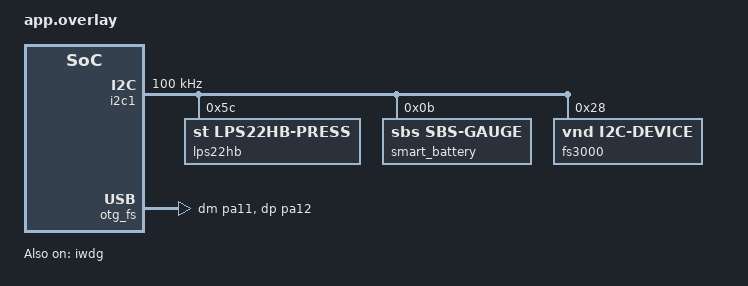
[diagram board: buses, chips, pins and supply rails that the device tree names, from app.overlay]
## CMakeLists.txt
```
cmake_minimum_required(VERSION 3.20.0)

find_package(Zephyr REQUIRED HINTS $ENV{ZEPHYR_BASE})
project(medical_firmware)

option(QEMU_RUNTIME_PROBE "Enable QEMU runtime probe markers and hardware stubs" OFF)

target_include_directories(app PRIVATE include)

target_sources(app PRIVATE
    src/main.cpp
    src/RTOS_Command_based_thread_system.cpp
    src/RTOS_Synchronization_Layer.cpp
)

if(QEMU_RUNTIME_PROBE)
    # THE FIX: This injects the macro into your C++ preprocessor 
    # so main() knows to print the boot marker!
    target_compile_definitions(app PRIVATE 
        QEMU_RUNTIME_PROBE=1
    )

    target_sources(app PRIVATE
        src/QEMU_Startup_Probe.c
        src/Device_State_Machine_QEMU_Stub.cpp
        src/Persistent_Configuration_System_QEMU_Stub.cpp
        src/Power_Management_System_QEMU_Stub.cpp
        src/Smart_Battery_System_QEMU_Stub.cpp
        src/USB_CDC_Virtual_COM_Shell_Interface_QEMU_Stub.cpp
        src/Fault_Tolerant_I2C_Communication_Layer_QEMU_Stub.cpp
        src/Static_Memory_QEMU_Stub.cpp
    )
else()
    target_sources(app PRIVATE
        src/Device_State_Machine+Watchdog.cpp
        src/Fault_Tolerant_I2C_Communication_Layer.cpp
        src/Persistent_Configuration_System.cpp
        src/Power_Management_System.cpp
        src/Smart_Battery_System.cpp
        src/Static_Memory+MISRA_Compliance_Layer.cpp
        src/USB_CDC_Virtual_COM_Shell_Interface.cpp
    )
endif()

target_compile_options(app PRIVATE
    -Wall
    -Wextra
    -Werror
    -Wno-pedantic
    -Wno-variadic-macros
    -Wno-vla
    -Wno-missing-field-initializers
    -Wno-unused-parameter
)

if(CONFIG_COVERAGE)
    target_compile_options(app PRIVATE --coverage -O0)
    target_link_options(app PRIVATE --coverage)
endif()
```

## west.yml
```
manifest:
  remotes:
    - name: zephyrproject-rtos
      url-base: https://github.com/zephyrproject-rtos
  projects:
    - name: zephyr
      remote: zephyrproject-rtos
      revision: v3.7.0
      import: true
  self:
    path: custom_app
```

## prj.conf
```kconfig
CONFIG_CPP=y
CONFIG_STD_CPP20=y
CONFIG_HEAP_MEM_POOL_SIZE=0
CONFIG_STACK_CANARIES=y

CONFIG_PM=y
CONFIG_PM_DEVICE=y

CONFIG_TEST_RANDOM_GENERATOR=y
CONFIG_ENTROPY_GENERATOR=y

CONFIG_SERIAL=y
CONFIG_CONSOLE=y
CONFIG_UART_CONSOLE=y

CONFIG_SHELL=y

CONFIG_FLASH=y
CONFIG_FLASH_PAGE_LAYOUT=y
CONFIG_NVS=y
CONFIG_MPU_ALLOW_FLASH_WRITE=y

CONFIG_THREAD_ANALYZER=y
CONFIG_THREAD_ANALYZER_AUTO=n
CONFIG_THREAD_ANALYZER_RUN_UNLOCKED=y
CONFIG_THREAD_NAME=y

CONFIG_COUNTER=y
CONFIG_COUNTER_RTC_STM32=y

CONFIG_LOG=y
CONFIG_LOG_BACKEND_UART=y
CONFIG_PRINTK=y

CONFIG_REQUIRES_FULL_LIBCPP=y
CONFIG_GLIBCXX_LIBCPP=y

CONFIG_WATCHDOG=y
CONFIG_I2C=y
CONFIG_SENSOR=y
CONFIG_REBOOT=y
```

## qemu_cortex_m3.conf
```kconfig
# 1. Simulated Flash and NVS
CONFIG_FLASH=y
CONFIG_FLASH_SIMULATOR=y
CONFIG_FLASH_PAGE_LAYOUT=y
CONFIG_FLASH_MAP=y
CONFIG_NVS=y

# 2. General Subsystems
CONFIG_REBOOT=y
CONFIG_COUNTER=y
CONFIG_I2C=y
CONFIG_WATCHDOG=y

# 3. Enable Dummy Drivers (Crucial for the Linker)
# These generate the C-structs for our "vnd" fake hardware
CONFIG_I2C_TEST=y
CONFIG_WDT_DUMMY=y

# 4. Turn off USB
CONFIG_USB_DEVICE_STACK=n
```

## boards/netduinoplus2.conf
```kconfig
# boards/netduinoplus2.conf

# 1. Enable Simulated Flash and NVS mapping
CONFIG_FLASH_SIMULATOR=y
CONFIG_FLASH_MAP=y

# 2. Turn off USB because QEMU has no physical USB hardware controller
CONFIG_USB_DEVICE_STACK=n

# 3. Disable physical STM32-specific hardware drivers forced by prj.conf
CONFIG_COUNTER_RTC_STM32=n
CONFIG_IWDG_STM32=n
CONFIG_I2C_STM32=n
CONFIG_MPU_ALLOW_FLASH_WRITE=n

# 4. Disable Deep Sleep Power Management (not supported by QEMU's STM32 model)
CONFIG_PM=n
CONFIG_PM_DEVICE=n
```

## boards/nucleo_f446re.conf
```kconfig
# boards/nucleo_f446re.conf

CONFIG_USB_DEVICE_STACK=y
CONFIG_USB_DEVICE_INITIALIZE_AT_BOOT=n
CONFIG_UART_INTERRUPT_DRIVEN=y
CONFIG_UART_LINE_CTRL=y

CONFIG_USB_DEVICE_PID=0x0001
CONFIG_USB_DEVICE_VID=0x2FE3
CONFIG_USB_DEVICE_PRODUCT="Medical Firmware"
CONFIG_USB_DEVICE_MANUFACTURER="STM Microelectronics"

CONFIG_SHELL_BACKEND_SERIAL=y
CONFIG_SHELL_PROMPT_UART="med-device:~$ "
```

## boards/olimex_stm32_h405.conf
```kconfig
CONFIG_LOG_BACKEND_UART=n
CONFIG_THREAD_ANALYZER_RUN_UNLOCKED=n

CONFIG_CLOCK_CONTROL=n
CONFIG_GPIO=n
CONFIG_I2C=n
CONFIG_SENSOR=n
CONFIG_WATCHDOG=n
CONFIG_COUNTER=n
CONFIG_COUNTER_RTC_STM32=n
CONFIG_FLASH=n
CONFIG_FLASH_PAGE_LAYOUT=n
CONFIG_NVS=n
CONFIG_PM=n
CONFIG_PM_DEVICE=n
CONFIG_USB_DEVICE_STACK=n
CONFIG_SHELL=n
CONFIG_SHELL_BACKEND_SERIAL=n

CONFIG_SERIAL=n
CONFIG_CONSOLE=n
CONFIG_UART_CONSOLE=n
CONFIG_LOG=n
CONFIG_PRINTK=y
CONFIG_BOOT_BANNER=n
```

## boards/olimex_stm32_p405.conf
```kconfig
# boards/olimex_stm32_p405.conf

# Turn off the USB stack (QEMU lacks physical USB hardware)
CONFIG_USB_DEVICE_STACK=n
```

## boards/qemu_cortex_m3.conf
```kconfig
# boards/qemu_cortex_m3.conf

# 1. Simulated Flash and NVS
CONFIG_FLASH=y
CONFIG_FLASH_SIMULATOR=y
CONFIG_FLASH_PAGE_LAYOUT=y
CONFIG_FLASH_MAP=y
CONFIG_NVS=y

# 2. General Subsystems
CONFIG_REBOOT=y
CONFIG_COUNTER=y
CONFIG_I2C=y
CONFIG_TEST_RANDOM_GENERATOR=y
CONFIG_WATCHDOG=y

# 3. Standard Console & C++ (Required for QEMU output)
CONFIG_CPP=y
CONFIG_STD_CPP20=y
CONFIG_SERIAL=y
CONFIG_CONSOLE=y
CONFIG_UART_CONSOLE=y
CONFIG_PRINTK=y
CONFIG_LOG_BUFFER_SIZE=8192
CONFIG_LOG_MODE_IMMEDIATE=y
CONFIG_HW_STACK_PROTECTION=y
```

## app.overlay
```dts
/* Enable the I2C1 Bus */
&i2c1 {
    status = "okay";
    
    /* SMBus requires 100 kHz for the Smart Battery */
    clock-frequency = <I2C_BITRATE_STANDARD>; 

    /* 1. LPS22HB Pressure Sensor */
    lps22hb: lps22hb@5c {
        compatible = "st,lps22hb-press";
        reg = <0x5c>; 
        status = "okay";
    };

    /* 2. Smart Battery (SBS 1.1) */
    smart_battery: sbs_gauge@b {
        compatible = "sbs,sbs-gauge";
        reg = <0x0b>; 
        status = "okay";
    };

    /* 3. FS3000 Flow Sensor */
    fs3000: fs3000@28 {
        compatible = "vnd,i2c-device"; 
        reg = <0x28>;
        status = "okay";
    };
};

&iwdg {
    status = "okay";
};

/ {
    aliases {
        cdc-acm-uart0 = &cdc_acm_uart0;
    };
};

&otg_fs {
    status = "okay";
    pinctrl-0 = <&usb_otg_fs_dm_pa11 &usb_otg_fs_dp_pa12>;
    pinctrl-names = "default";

    cdc_acm_uart0: cdc_acm_uart0 {
        compatible = "zephyr,cdc-acm-uart";
    };
};
```

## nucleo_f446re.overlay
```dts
/* Enable the I2C1 Bus */
&i2c1 {
    status = "okay";
    
    /* SMBus requires 100 kHz for the Smart Battery */
    clock-frequency = <I2C_BITRATE_STANDARD>; 

    /* 1. LPS22HB Pressure Sensor */
    lps22hb: lps22hb@5c {
        compatible = "st,lps22hb-press";
        reg = <0x5c>; 
        status = "okay";
    };

    /* 2. Smart Battery (SBS 1.1) */
    smart_battery: sbs_gauge@b {
        compatible = "sbs,sbs-gauge";
        reg = <0x0b>; 
        status = "okay";
    };

    /* 3. FS3000 Flow Sensor */
    fs3000: fs3000@28 {
        compatible = "vnd,i2c-device"; 
        reg = <0x28>;
        status = "okay";
    };
};

&iwdg {
    status = "okay";
};

/ {
    aliases {
        cdc-acm-uart0 = &cdc_acm_uart0;
    };
};

&usbotg_fs {
    status = "okay";
    pinctrl-0 = <&usb_otg_fs_dm_pa11 &usb_otg_fs_dp_pa12>;
    pinctrl-names = "default";

    cdc_acm_uart0: cdc_acm_uart0 {
        compatible = "zephyr,cdc-acm-uart";
    };
};
```

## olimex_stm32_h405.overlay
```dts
/* olimex_stm32_h405.overlay */

/ {
    chosen {
        zephyr,console = &usart2;
        zephyr,shell-uart = &usart2;
    };

    aliases {
        serial0 = &usart2;

        /*
         * Your USB_CDC_Virtual_COM_Shell_Interface.cpp uses:
         * DEVICE_DT_GET(DT_ALIAS(cdc_acm_uart0))
         *
         * USB is disabled in QEMU, so map this alias to USART2.
         */
        cdc-acm-uart0 = &usart2;
    };
};

/*
 * QEMU-safe clock configuration.
 * Use HSI instead of external HSE/PLL.
 */
&clk_hsi {
    status = "okay";
};

&clk_hse {
    status = "disabled";
};

&pll {
    status = "disabled";
};

&rcc {
    clocks = <&clk_hsi>;
    clock-frequency = <16000000>;
    ahb-prescaler = <1>;
    apb1-prescaler = <1>;
    apb2-prescaler = <1>;
};

&usart2 {
    status = "okay";
    current-speed = <115200>;
    pinctrl-0 = <&usart2_tx_pa2 &usart2_rx_pa3>;
    pinctrl-names = "default";
};

&usbotg_fs {
    status = "disabled";
};

/*
 * Keep I2C enabled in DTS if your full firmware expects i2c1 device.
 * Your I2CManager already mocks reads/writes for CONFIG_BOARD_OLIMEX_STM32_H405.
 */
&i2c1 {
    status = "okay";
    pinctrl-0 = <&i2c1_scl_pb6 &i2c1_sda_pb7>;
    pinctrl-names = "default";
};

&rtc {
    status = "okay";
};

&iwdg {
    status = "okay";
};

/*
 * Required by Persistent_Configuration_System.cpp:
 * DT_NODELABEL(storage_partition)
 */
&flash0 {
    partitions {
        compatible = "fixed-partitions";
        #address-cells = <1>;
        #size-cells = <1>;

        storage_partition: partition@E0000 {
            label = "storage";
            reg = <0x000E0000 0x00020000>;
        };
    };
};
```

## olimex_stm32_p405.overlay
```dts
/* olimex_stm32_p405.overlay */

/ {
    chosen {
        /*
         * For QEMU netduinoplus2, keep console and shell on USART1.
         * This maps more reliably to the first QEMU -serial backend.
         */
        zephyr,console = &usart1;
        zephyr,shell-uart = &usart1;
    };

    aliases {
        serial0 = &usart1;
        serial1 = &usart2;

        /*
         * Keep this alias because the application code uses:
         * DEVICE_DT_GET(DT_ALIAS(cdc_acm_uart0))
         *
         * USB is disabled in QEMU, so map the alias to USART1.
         */
        cdc-acm-uart0 = &usart1;
    };
};

/* QEMU does not emulate physical USB for this board */
&usbotg_fs {
    status = "disabled";
};

/* Primary QEMU console UART */
&usart1 {
    status = "okay";
    current-speed = <115200>;
    pinctrl-0 = <&usart1_tx_pa9 &usart1_rx_pa10>;
    pinctrl-names = "default";
};

/* Secondary UART kept enabled for diagnostics */
&usart2 {
    status = "okay";
    current-speed = <115200>;
    pinctrl-0 = <&usart2_tx_pa2 &usart2_rx_pa3>;
    pinctrl-names = "default";
};

&i2c1 {
    status = "okay";
    pinctrl-0 = <&i2c1_scl_pb6 &i2c1_sda_pb7>;
    pinctrl-names = "default";
};

&rtc {
    status = "okay";
};

&iwdg {
    status = "okay";
};

&flash0 {
    partitions {
        compatible = "fixed-partitions";
        #address-cells = <1>;
        #size-cells = <1>;

        storage_partition: partition@E0000 {
            label = "storage";
            reg = <0x000E0000 0x00020000>;
        };
    };
};
```

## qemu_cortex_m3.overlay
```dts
/* qemu_cortex_m3.overlay */

/ {
    aliases {
        cdc-acm-uart0 = &uart0;
    };

    /* 1. Mock I2C Bus */
    i2c1: fake_i2c@40001000 {
        compatible = "vnd,i2c";
        reg = <0x40001000 0x1000>;
        status = "okay";
        #address-cells = <1>;
        #size-cells = <0>;
    };

    /* 2. Mock Watchdog (Spoofed as I2C to generate linker symbol) */
    iwdg: fake_watchdog@40002000 {
        compatible = "vnd,i2c";
        reg = <0x40002000 0x1000>;
        status = "okay";
        #address-cells = <1>;
        #size-cells = <0>;
    };

    /* 3. Mock RTC (Spoofed as I2C to generate linker symbol) */
    rtc: fake_rtc@40003000 {
        compatible = "vnd,i2c";
        reg = <0x40003000 0x1000>;
        status = "okay";
        #address-cells = <1>;
        #size-cells = <0>;
    };

    /* 4. Simulated Flash for NVS */
    sim_flash: sim_flash@50000000 {
        compatible = "zephyr,sim-flash";
        reg = <0x50000000 0x8000>;
        #address-cells = <1>;
        #size-cells = <1>;
        erase-value = <0xff>;

        flash_sim0: flash_sim@0 {
            status = "okay";
            compatible = "soc-nv-flash";
            erase-block-size = <1024>;
            write-block-size = <4>;
            reg = <0x00000000 0x8000>;

            partitions {
                compatible = "fixed-partitions";
                #address-cells = <1>;
                #size-cells = <1>;

                storage_partition: partition@6000 {
                    label = "storage";
                    reg = <0x00006000 0x00002000>;
                };
            };
        };
    };
};

&uart0 {
    status = "okay";
};
```

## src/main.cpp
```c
#include <zephyr/kernel.h>
#include <zephyr/logging/log.h>
#include <zephyr/sys/printk.h>

#include "RTOS_Command_based_thread_system.h"
#include "RTOS_Synchronization_Layer.h"
#include "Device_State_Machine+Watchdog.h"
#include "Smart_Battery_System.h"
#include "Persistent_Configuration_System.h"
#include "Static_Memory+MISRA_Compliance_Layer.h"
#include "Power_Management_System.h"

#include <zephyr/debug/thread_analyzer.h>
#include <new>

LOG_MODULE_REGISTER(MAIN_OS, LOG_LEVEL_INF);

DeviceContext sys_context;

extern ZephyrWorkQueue status_work;

#if defined(QEMU_RUNTIME_PROBE)
static void qemu_write0(const char *s)
{
    /*
     * ARM semihosting SYS_WRITE0:
     * r0 = 0x04
     * r1 = zero-terminated string pointer
     *
     * Use explicit register moves.
     * Do not rely on C/C++ register variables here.
     */
    asm volatile (
        "mov r2, %[msg]\n"
        "movs r0, #4\n"
        "mov r1, r2\n"
        "bkpt 0xab\n"
        :
        : [msg] "r" (s)
        : "r0", "r1", "r2", "memory"
    );
}
#else
static void qemu_write0(const char * /* s */)
{
}
#endif

int main(void)
{
    qemu_write0("QEMU_BOOT_MARKER_ACTUAL_MAIN\n");
    printk("QEMU_BOOT_MARKER_PRINTK\n");

    LOG_INF("Command-Based RTOS Booting");
    qemu_write0("MAIN_AFTER_LOG_INF\n");

#if defined(QEMU_RUNTIME_PROBE)

    /*
     * QEMU mode:
     * Do not call ConfigStore::get() / set().
     * Those template methods are inline in the header and require
     * nvs_read() / nvs_write(), which are intentionally disabled in QEMU mode.
     */
    qemu_write0("MAIN_QEMU_SKIP_NVS_CONFIG\n");

#else

    ConfigStore& config = ConfigStore::getInstance();

    if (config.init()) {
        config.validateEndurance(ConfigKey::ALARM_THRESHOLD);

        uint16_t infusion_rate = 0;

        if (!config.get(ConfigKey::INFUSION_RATE, infusion_rate)) {
            LOG_WRN("First boot detected. Setting default infusion rate.");
            config.set(ConfigKey::INFUSION_RATE, static_cast<uint16_t>(50));
        } else {
            LOG_INF("Loaded Infusion Rate from NVS: %u mL/hr", infusion_rate);
        }
    }

#endif

    sys_context.requestTransition(SystemState::RUNNING);
    qemu_write0("MAIN_AFTER_STATE_RUNNING\n");

    status_work.schedule(K_SECONDS(1));
    qemu_write0("MAIN_AFTER_STATUS_WORK_SCHEDULE\n");

    return 0;
}
```

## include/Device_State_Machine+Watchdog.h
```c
#include <zephyr/kernel.h>
#include <zephyr/drivers/watchdog.h>
#pragma once

enum class SystemState{
  INIT,
  RUNNING,
  FAULT,
  SAFE_HALT
};

class WatchdogTimer{
    private:
        const device* wdt_dev;
        int channel_id;
    public:
        WatchdogTimer();
        bool init(uint32_t timeout_ms);
        void feed();
};

class DeviceContext {
    private:
        SystemState current_state;
        WatchdogTimer wdt;
    public:
        DeviceContext();
        
        SystemState getState() const;
        bool requestTransition(SystemState next_state);
        
        void triggerFault(const char* reason);
};
        
```

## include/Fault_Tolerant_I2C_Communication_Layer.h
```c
#include <zephyr/drivers/i2c.h>
#include <cstdint>
#pragma once

enum class I2CFault{NONE,NACK,TIMEOUT,BUS_BUSY,ARBITRATION_LOST};

template <typename T>
struct Result{
    T value;
    I2CFault error;
    bool success;
    
    static Result<T> Ok(T val){
        return {val,I2CFault::NONE,true};
    }
    
    static Result<T> Err(I2CFault err){
        return {T(),err,false};
    }
};

class I2CStrategy{
  public:
      protected:
        ~I2CStrategy()=default;
      public:
          virtual void executeRecovery(const device* i2c_dev)=0;
};

class RetryStrategy:public I2CStrategy{
  public:
      void executeRecovery(const device* i2c_dev) override;
};

class BusResetStrategy:public I2CStrategy{
  public:
      void executeRecovery(const device* i2c_dev) override;
};

class FailSafeStrategy:public I2CStrategy{
  private:
      uint8_t last_known_good_value=0;
  public:
      void executeRecovery(const device* i2c_dev) override;
      void updateLastGood(uint8_t val);
      uint8_t getLastGood() const;
};

class I2CManager{
  private:
      const device* i2c_dev;
      RetryStrategy retry_strategy;
      BusResetStrategy reset_strategy;  
  public:
      explicit I2CManager(const device* dev);
      Result<uint8_t> readRegister(uint16_t sensor_addr,uint8_t reg_addr);
      Result<bool> writeRegister(uint16_t sensor_addr,uint8_t reg_addr,uint8_t val);
      Result<uint16_t> readWord(uint16_t sensor_addr,uint8_t reg_addr);
};
```

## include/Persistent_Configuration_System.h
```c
#include <zephyr/kvss/nvs.h>
#include <zephyr/logging/log.h>
#include <type_traits>
#include <cstdint>
#pragma once

enum class ConfigKey:uint16_t{DEVICE_ID=1,INFUSION_RATE=2,ALARM_THRESHOLD=3,FULL_CHARGE_LOG=4};

class ConfigStore {
    private:
        struct nvs_fs fs;
        bool initialized;
        
        static ConfigStore instance;
        
        ConfigStore();
        ~ConfigStore()=default;
        
        ConfigStore(const ConfigStore&)=delete;
        ConfigStore& operator=(const ConfigStore&)=delete;
        
    public:
        static ConfigStore& getInstance();
        
        bool init();
        
        template <typename T>
        bool set(ConfigKey key,const T& value){
            static_assert(std::is_trivially_copyable<T>::value,"Config data must be trivially copyable");
            
            if (!initialized){
                return false;
            }
            
#if defined(CONFIG_NVS) || defined(IS_TEST_ENVIRONMENT)
            uint16_t nvs_id=static_cast<uint16_t>(key);
            ssize_t written=nvs_write(&fs,nvs_id,&value,sizeof(T));
            
            return (written>=0);
#else
            return true;
#endif
          }
          
          template <typename T>
          bool get(ConfigKey key,T& out_value){
              static_assert(std::is_trivially_copyable<T>::value,"Config data must be trivially copyable.");
               
              if (!initialized){
                  return false;
              }
              
#if defined(CONFIG_NVS) || defined(IS_TEST_ENVIRONMENT)
              uint16_t nvs_id=static_cast<uint16_t>(key);
              ssize_t bytes_read=nvs_read(&fs,nvs_id,&out_value,sizeof(T));
              
              return (bytes_read==sizeof(T));
#else
              return true;
#endif
           }
           
           bool validateEndurance(ConfigKey key);
};
```

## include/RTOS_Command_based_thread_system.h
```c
#include <zephyr/kernel.h>
#include <cstdint>
#pragma once

class ICommand{
  public:
    uint32_t timestamp_queued;
    
    ICommand();
    virtual ~ICommand()=default;
    
    virtual void execute() {} 
    
    void operator delete(void* /* ptr */) {}
    
    void destroy();
};

class SensorReadCmd:public ICommand{
  public:
      void execute() override;
};

class ComputeCmd:public ICommand{
  private:
      uint8_t raw_data;
  public:
      explicit ComputeCmd(uint8_t data);
      void execute() override;
};

class PrintCmd:public ICommand{
  private:
      const char* message;
  public:
      explicit PrintCmd(const char* msg);
      void execute() override;
};

extern struct k_msgq processor_queue;
extern struct k_msgq logger_queue;    
```

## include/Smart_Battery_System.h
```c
#include "Fault_Tolerant_I2C_Communication_Layer.h"
#include "Device_State_Machine+Watchdog.h"
#include <cstdint>
#pragma once

enum class BatteryFSM{IDLE,CHARGING,DISCHARGING,CUTOFF};

struct BatteryLimits{
    static constexpr uint8_t CUTOFF_SOC_PCT=10;
    static constexpr uint8_t REENABLE_SOC_PCT=15;
};

class SbsBattery{
  private:
      I2CManager* i2c_bus;
      DeviceContext* sys_context;
      BatteryFSM current_state;
      
      static constexpr uint16_t SBS_ADDR=0x0B;
      static constexpr uint8_t REG_TEMP=0x08;
      static constexpr uint8_t REG_VOLTAGE=0x09;
      static constexpr uint8_t REG_CURRENT=0x0A;
      static constexpr uint8_t REG_SOC=0x0D;
      static constexpr uint8_t REG_CAPACITY=0x0F;
      
      bool full_charge_logged;
      
  public:
      SbsBattery(I2CManager* bus, DeviceContext* context);
      
      Result<uint16_t> getVoltage();
      Result<int16_t> getCurrent();
      Result<uint8_t> getStateOfCharge();
      Result<uint16_t> getTemperature();
      Result<uint16_t> getCapacity();
      
      void processFSM();
      BatteryFSM getState() const;
};
```

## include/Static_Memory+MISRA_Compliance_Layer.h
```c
#include <array>
#include <cstdint>
#include <new>
#include <cstddef>
#include <zephyr/kernel.h>
#include <zephyr/logging/log.h>
#pragma once

template <typename T,size_t N>
class StaticPool{
    private:
        alignas(4) std::array<uint8_t,sizeof(T)*N> memory_block;
        std::array<bool,N> in_use;
        k_mutex pool_mutex;
    
    public:
        StaticPool(){
            in_use.fill(false);
            k_mutex_init(&pool_mutex);
        }
        
        void* allocate(){
            k_mutex_lock(&pool_mutex,K_FOREVER);
            void* ptr=nullptr;
            
            for (size_t i=0;i<N;i++){
                if(!in_use[i]){
                    in_use[i]=true;
                    ptr=&memory_block[i*sizeof(T)];
                    break;
                }    
            }
            k_mutex_unlock(&pool_mutex);
            
            if (ptr==nullptr){
                LOG_ERR("StaticPool Out of Memory! Pool Size: %zu",N);
            }
            return ptr;
        }
        
        void deallocate(void* ptr){
            if (ptr==nullptr){
                return;
            }
            
            k_mutex_lock(&pool_mutex,K_FOREVER);
            auto* byte_ptr=static_cast<uint8_t*>(ptr);
            auto* base_ptr=memory_block.data();
            
            if (byte_ptr>=base_ptr && byte_ptr<base_ptr+(sizeof(T)*N)){
                size_t index=(byte_ptr-base_ptr)/sizeof(T);
                in_use[index]=false;
            }
            else{
                LOG_ERR("Invalid pointer passed to deallocate");
            }
            k_mutex_unlock(&pool_mutex);
        }
    };
```

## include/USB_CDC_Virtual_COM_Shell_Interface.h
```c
#include <zephyr/kernel.h>
#include <zephyr/device.h>
#include <zephyr/drivers/uart.h>
#include <zephyr/usb/usb_device.h>
#include <array>
#include <string_view>
#include <cstdio>
#include <cstdlib>
#include "Device_State_Machine+Watchdog.h"
#include "Smart_Battery_System.h"
#pragma once

constexpr size_t RX_RING_BUF_SIZE=256;
constexpr size_t MAX_CMD_LEN=128;

class UsbCdcFacade{
    private:
        const device* dev;
        bool dtr_ready;
        std::array<char, RX_RING_BUF_SIZE> rx_buffer;
        volatile size_t rx_head;
        volatile size_t rx_tail;
        
        static void uartInterruptHandler(const device* dev,void* user_data);
        
    public:
        UsbCdcFacade();
        bool init();
        
        bool isConnected();
        
        void transmit(std::string_view data);
        bool readLine(std::array<char, MAX_CMD_LEN>& out_line);
};

class UsbShell{
    private:
        UsbCdcFacade usb;
        DeviceContext* sys_ctx;
        SbsBattery* battery;
        
        void cmdStatus();
        void cmdSetRate(std::string_view args);
        void cmdLogDump();
        void cmdReboot();
        
    public:
        UsbShell(DeviceContext* ctx,SbsBattery* bat);
        void process();
        void dispatchCommand(std::string_view cmd);
};

  
```

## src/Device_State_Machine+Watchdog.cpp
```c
#include "Device_State_Machine+Watchdog.h"
#include <zephyr/logging/log.h>
#include <zephyr/device.h>
#include <zephyr/drivers/watchdog.h>

LOG_MODULE_REGISTER(DEVICE_STATE, LOG_LEVEL_WRN);
  
WatchdogTimer::WatchdogTimer():wdt_dev(DEVICE_DT_GET(DT_NODELABEL(iwdg))),channel_id(-1){}

bool WatchdogTimer::init(uint32_t timeout_ms){
    if (!device_is_ready(wdt_dev)){
      return false;
    }
    
    struct wdt_timeout_cfg wdt_config={
        .window={ .min=0, .max=timeout_ms},
        .callback=nullptr,
        .flags=WDT_FLAG_RESET_SOC
    };
    
    channel_id=wdt_install_timeout(wdt_dev,&wdt_config);
    
    if (channel_id<0){
      return false;
    }
    
    wdt_setup(wdt_dev, WDT_OPT_PAUSE_HALTED_BY_DBG);
    return true;
}

void WatchdogTimer::feed(){
    if (channel_id>=0){
      wdt_feed(wdt_dev,channel_id);
    }
}

DeviceContext::DeviceContext():current_state(SystemState::INIT){}

SystemState DeviceContext::getState() const{
  return current_state;
}

bool DeviceContext::requestTransition(SystemState next_state){
    if (current_state==SystemState::FAULT|| current_state ==SystemState::SAFE_HALT){
        LOG_ERR("Cannot transition out of FAULT/HALT state normally.");
        return false;
    }
    
    current_state=next_state;
    LOG_INF("System transitioned to state:%d",static_cast<int>(current_state));
    return true;
}

void DeviceContext::triggerFault(const char* reason){
    LOG_ERR("CRITICAL FAULT: %s. Forcing SAFE_HALT.",reason);
    current_state=SystemState::SAFE_HALT;
}
```

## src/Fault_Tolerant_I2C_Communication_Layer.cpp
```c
#include <zephyr/kernel.h>
#include <zephyr/logging/log.h>
#include "Fault_Tolerant_I2C_Communication_Layer.h"
#include <errno.h>
#include <stdlib.h> // Required for rand() in QEMU mock generation

LOG_MODULE_REGISTER(I2C_HW,LOG_LEVEL_WRN);
 
void RetryStrategy::executeRecovery(const device* /* i2c_dev */){
    LOG_WRN("I2C Fault Detected. Executing Exponential Backoff Retry...");
    k_msleep(10);
}

void BusResetStrategy::executeRecovery(const device* /* i2c_dev */){
    LOG_ERR("I2C Bus Hard-Locked.Toggling SCL to recover");
}

void FailSafeStrategy::executeRecovery(const device* /* i2c_dev */){
      LOG_ERR("I2C Critical Failure. Falling back to Last-known-Good data: %u",last_known_good_value);
}

void FailSafeStrategy::updateLastGood(uint8_t val){
      last_known_good_value=val;
}

uint8_t FailSafeStrategy::getLastGood() const{
      return last_known_good_value;
}

I2CManager::I2CManager(const device* i2c_dev):i2c_dev(i2c_dev){}

Result<uint8_t> I2CManager::readRegister(uint16_t sensor_addr,uint8_t reg_addr){
#ifdef CONFIG_BOARD_QEMU_CORTEX_M3
    // ==========================================
    // EMULATOR MODE (Cortex-M4): Inject Simulated Sensor Data
    // ==========================================
    k_msleep(50); // Simulate I2C bus delay
    uint8_t mock_data = 60 + (rand() % 40); // Generate dynamic 8-bit data
    printk("<inf> SIM_I2C: Injected Mock Byte (Sensor: 0x%02X, Reg: 0x%02X) -> %u\n", sensor_addr, reg_addr, mock_data);
    return Result<uint8_t>::Ok(mock_data);
#else
    // ==========================================
    // PHYSICAL HARDWARE MODE: Real I2C Read
    // ==========================================
    uint8_t data=0;
    
    int err=i2c_reg_read_byte(i2c_dev,sensor_addr,reg_addr,&data);
    
    if (err==0){
        return Result<uint8_t>::Ok(data);
    }
    
    if (err==-ETIMEDOUT){
        reset_strategy.executeRecovery(i2c_dev);
        return Result<uint8_t>::Err(I2CFault::TIMEOUT);
    }
    
    retry_strategy.executeRecovery(i2c_dev);
    return Result<uint8_t>::Err(I2CFault::NACK);
#endif
}

Result<bool> I2CManager::writeRegister(uint16_t sensor_addr,uint8_t reg_addr,uint8_t val){
#ifdef CONFIG_BOARD_QEMU_CORTEX_M3
    k_msleep(10);
    printk("<inf> SIM_I2C: Mock Write Success (Sensor: 0x%02X, Reg: 0x%02X) -> %u\n", sensor_addr, reg_addr, val);
    return Result<bool>::Ok(true);
#else
    int err=i2c_reg_write_byte(i2c_dev,sensor_addr,reg_addr,val);
    
    if (err==0){
        return Result<bool>::Ok(true);
    }
    
    retry_strategy.executeRecovery(i2c_dev);
    return Result<bool>::Err(I2CFault::NACK);
#endif
}

Result<uint16_t> I2CManager::readWord(uint16_t sensor_addr,uint8_t reg_addr){
#ifdef CONFIG_BOARD_QEMU_CORTEX_M3
    k_msleep(50);
    uint16_t mock_val = 900 + (rand() % 100); // Generate dynamic 16-bit data
    printk("<inf> SIM_I2C: Injected Mock Word (Sensor: 0x%02X, Reg: 0x%02X) -> %u\n", sensor_addr, reg_addr, mock_val);
    return Result<uint16_t>::Ok(mock_val);
#else
    uint8_t buf[2]={0,0};
    
    int err=i2c_burst_read(i2c_dev,sensor_addr,reg_addr,buf,2);
    
    if (err==0){
        uint16_t val=(static_cast<uint16_t>(buf[1])<<8)|buf[0];
        return Result<uint16_t>::Ok(val);
    }
    
    if (err==-ETIMEDOUT){
        reset_strategy.executeRecovery(i2c_dev);
        return Result<uint16_t>::Err(I2CFault::TIMEOUT);
    }
    
    retry_strategy.executeRecovery(i2c_dev);
    return Result<uint16_t>::Err(I2CFault::NACK);
#endif
}
```

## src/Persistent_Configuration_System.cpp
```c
#include <zephyr/device.h>
#include <zephyr/drivers/flash.h>
#include <zephyr/storage/flash_map.h>
#include <zephyr/drivers/flash.h>
#include "Persistent_Configuration_System.h"
LOG_MODULE_REGISTER(CONFIG_SYS,LOG_LEVEL_INF);

#define NVS_PARTITION storage_partition
#define NVS_PARTITION_DEVICE FIXED_PARTITION_DEVICE(NVS_PARTITION)
ConfigStore ConfigStore::instance;

ConfigStore::ConfigStore():initialized(false){
  fs.flash_device = DEVICE_DT_GET(DT_MTD_FROM_FIXED_PARTITION(DT_NODELABEL(storage_partition)));
  fs.offset = DT_REG_ADDR(DT_NODELABEL(storage_partition));
  fs.sector_size=2048;
  fs.sector_count=4;
}

ConfigStore& ConfigStore::getInstance(){
  return instance;
}

bool ConfigStore::init(){
    if (!device_is_ready(fs.flash_device)){
        LOG_ERR("Flash device not ready");
        return false;
    }
    
    int rc=nvs_mount(&fs);
    if (rc){
        LOG_ERR("NVS Mount failed: %d",rc);
        return false;
    }
    
    initialized=true;
    LOG_INF("NVS Configuration Store Mounted Successfully.");
    return true;
}

bool ConfigStore::validateEndurance(ConfigKey key){
    if (!initialized){
        return false;
    }
    
    LOG_WRN("Starting 1,000 Write-Cycle Endurance Test on Key:%d...",static_cast<int>(key));
    
    uint16_t test_val=0;
    uint16_t read_val=0;
    
    for (int i=0;i<1000;i++){
        test_val=i;
        
        if (!set(key,test_val)){
            LOG_ERR("Endurance Test failed to write at cycle %d",i);
            return false;
        }
        
        if (!get(key,read_val)|| read_val!=test_val){
            LOG_ERR("Endurance Test failed to verify at cycle %d",i);
            return false;
        }
    }
    
    LOG_INF("1,000 Write-Cycle Endurance Test passed.Flash is stable");    
    return true;    
}        
```

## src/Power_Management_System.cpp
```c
#include "Power_Management_System.h"
#include <zephyr/logging/log.h>

#ifdef IS_TEST_ENVIRONMENT
    extern bool run_thread_once;
    #define THREAD_LOOP_CONDITION (run_thread_once ? (run_thread_once = false, true) : false)
#else 
    #define THREAD_LOOP_CONDITION true
#endif

LOG_MODULE_REGISTER(PWR_SYS, LOG_LEVEL_INF);

extern const device* i2c_hardware;
const device* rtc_hardware=DEVICE_DT_GET(DT_NODELABEL(rtc));
PowerManager pwr_manager(rtc_hardware,i2c_hardware);

PowerManager::PowerManager(const device* rtc, const device* i2c)
    : current_mode(PowerMode::ACTIVE),
      last_activity_time(0),
      rtc_dev(rtc),
      i2c_dev(i2c)
{
}

bool PowerManager::init()
{
    last_activity_time = k_uptime_get_32();

    if (!device_is_ready(rtc_dev)) {
        LOG_ERR("RTC device not ready");
        return false;
    }

    pm_policy_state_lock_get(PM_STATE_SUSPEND_TO_RAM, PM_ALL_SUBSTATES);
    LOG_INF("Power Manager initialized. Deep Sleep Locked.");

    return true;
}

void PowerManager::reportActivity(){
    last_activity_time=k_uptime_get_32();
    
    if (current_mode==PowerMode::STOP){
        LOG_INF("Hardware Activity Detected! Waking up I2C Bus...");
        
        pm_device_action_run(i2c_dev, PM_DEVICE_ACTION_RESUME);
        
        pm_policy_state_lock_get(PM_STATE_SUSPEND_TO_RAM,PM_ALL_SUBSTATES);
    }
    
    current_mode=PowerMode::ACTIVE;
}

void PowerManager::rtc_alarm_handler(const device* /* dev */,uint8_t /* chan_id */,uint32_t /* ticks */,void *user_data){
    auto* self=static_cast<PowerManager*>(user_data);
    LOG_WRN("=== 60s RTC Wakeup Triggered! Restoring System State ===");
    self->reportActivity();
}

void PowerManager::processFSM(){
    uint32_t elapsed=k_uptime_get_32()-last_activity_time;
    
    if (current_mode==PowerMode::ACTIVE && elapsed >=30000){
       LOG_INF("30s Inactivity: Transitioning to IDLE mode");
       current_mode=PowerMode::IDLE;
    }
    else if(current_mode==PowerMode::IDLE && elapsed>=35000){
        LOG_WRN("35s Inactivity: Transitioning to STOP mode (Deep Sleep).");
        current_mode=PowerMode::STOP;
        
        pm_device_action_run(i2c_dev,PM_DEVICE_ACTION_SUSPEND);
        
        struct counter_alarm_cfg alarm_cfg={};
        alarm_cfg.flags=0;
        alarm_cfg.ticks=counter_us_to_ticks(rtc_dev,60000000);
        alarm_cfg.callback=rtc_alarm_handler;
        alarm_cfg.user_data=this;
        counter_set_channel_alarm(rtc_dev,0,&alarm_cfg);
    
        pm_policy_state_lock_put(PM_STATE_SUSPEND_TO_RAM,PM_ALL_SUBSTATES);
    }
}

void power_monitor_thread(){
    pwr_manager.init();
    do{
        pwr_manager.processFSM();
        k_msleep(1000);
    }while(THREAD_LOOP_CONDITION);
}

K_THREAD_DEFINE(pr_tid,1024,power_monitor_thread,NULL,NULL,NULL,13,0,0);

PowerMode PowerManager::getMode() const {
    return current_mode;
}
```

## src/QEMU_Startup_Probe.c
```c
#include <stdint.h>
#include <zephyr/init.h>

static void qemu_write0(const char *s)
{
    register uint32_t op __asm__("r0") = 0x04;
    register const char *msg __asm__("r1") = s;

    __asm__ volatile (
        "bkpt 0xab"
        :
        : "r"(op), "r"(msg)
        : "memory"
    );
}

#define MAKE_PROBE(name, text)        \
    static int name(void)             \
    {                                 \
        qemu_write0(text "\n");       \
        return 0;                     \
    }

MAKE_PROBE(qemu_probe_pre_kernel_1_p0,  "QEMU_PROBE_PRE_KERNEL_1_P0")
MAKE_PROBE(qemu_probe_pre_kernel_1_p1,  "QEMU_PROBE_PRE_KERNEL_1_P1")
MAKE_PROBE(qemu_probe_pre_kernel_1_p2,  "QEMU_PROBE_PRE_KERNEL_1_P2")
MAKE_PROBE(qemu_probe_pre_kernel_1_p3,  "QEMU_PROBE_PRE_KERNEL_1_P3")
MAKE_PROBE(qemu_probe_pre_kernel_1_p4,  "QEMU_PROBE_PRE_KERNEL_1_P4")
MAKE_PROBE(qemu_probe_pre_kernel_1_p5,  "QEMU_PROBE_PRE_KERNEL_1_P5")
MAKE_PROBE(qemu_probe_pre_kernel_1_p6,  "QEMU_PROBE_PRE_KERNEL_1_P6")
MAKE_PROBE(qemu_probe_pre_kernel_1_p7,  "QEMU_PROBE_PRE_KERNEL_1_P7")
MAKE_PROBE(qemu_probe_pre_kernel_1_p8,  "QEMU_PROBE_PRE_KERNEL_1_P8")
MAKE_PROBE(qemu_probe_pre_kernel_1_p9,  "QEMU_PROBE_PRE_KERNEL_1_P9")
MAKE_PROBE(qemu_probe_pre_kernel_1_p10, "QEMU_PROBE_PRE_KERNEL_1_P10")

MAKE_PROBE(qemu_probe_pre_kernel_2_p0,  "QEMU_PROBE_PRE_KERNEL_2_P0")
MAKE_PROBE(qemu_probe_post_kernel_p0,   "QEMU_PROBE_POST_KERNEL_P0")
MAKE_PROBE(qemu_probe_application_p0,   "QEMU_PROBE_APPLICATION_P0")

SYS_INIT(qemu_probe_pre_kernel_1_p0,  PRE_KERNEL_1, 0);
SYS_INIT(qemu_probe_pre_kernel_1_p1,  PRE_KERNEL_1, 1);
SYS_INIT(qemu_probe_pre_kernel_1_p2,  PRE_KERNEL_1, 2);
SYS_INIT(qemu_probe_pre_kernel_1_p3,  PRE_KERNEL_1, 3);
SYS_INIT(qemu_probe_pre_kernel_1_p4,  PRE_KERNEL_1, 4);
SYS_INIT(qemu_probe_pre_kernel_1_p5,  PRE_KERNEL_1, 5);
SYS_INIT(qemu_probe_pre_kernel_1_p6,  PRE_KERNEL_1, 6);
SYS_INIT(qemu_probe_pre_kernel_1_p7,  PRE_KERNEL_1, 7);
SYS_INIT(qemu_probe_pre_kernel_1_p8,  PRE_KERNEL_1, 8);
SYS_INIT(qemu_probe_pre_kernel_1_p9,  PRE_KERNEL_1, 9);
SYS_INIT(qemu_probe_pre_kernel_1_p10, PRE_KERNEL_1, 10);

SYS_INIT(qemu_probe_pre_kernel_2_p0, PRE_KERNEL_2, 0);
SYS_INIT(qemu_probe_post_kernel_p0, POST_KERNEL, 0);
SYS_INIT(qemu_probe_application_p0, APPLICATION, 0);
```
